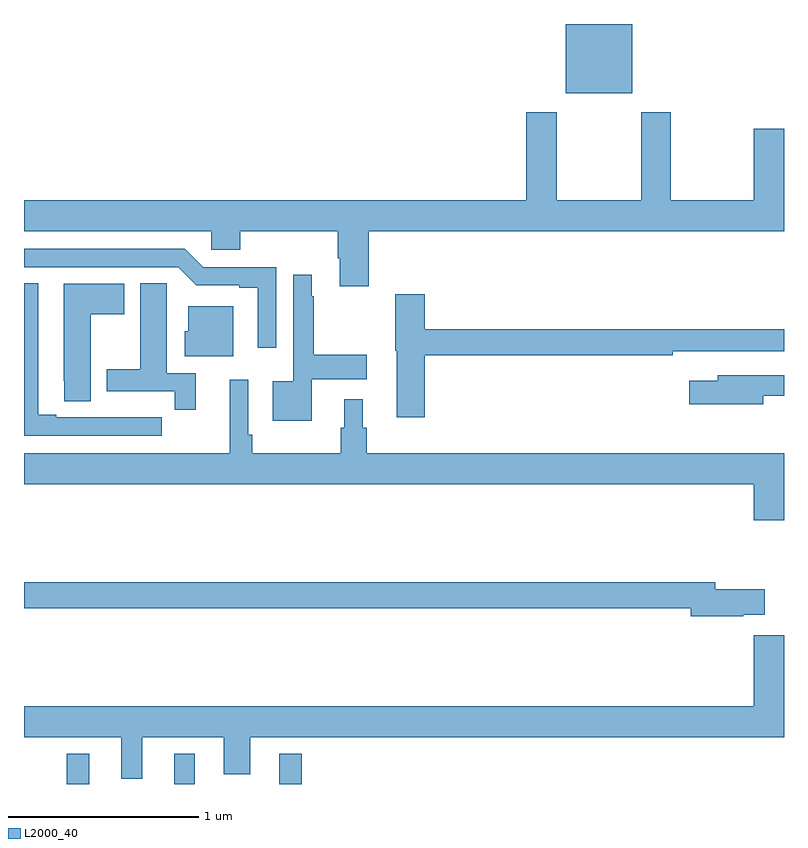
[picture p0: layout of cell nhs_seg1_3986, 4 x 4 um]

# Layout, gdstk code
import gdstk
lib = gdstk.Library(unit=1e-6, precision=1e-09)
def R(c, l, rs):  # rectangles x0, y0, x1, y1
    for r in rs: c.add(gdstk.rectangle(r[:2], r[2:], *l))
def P(c, l, *ps):  # polygons
    for p in ps: c.add(gdstk.Polygon(p, *l))
L2000_40 = (2000, 40)

nhs_seg1_3986 = lib.new_cell('nhs_seg1_3986')
R(nhs_seg1_3986, L2000_40, [(329.226,506.199,329.344,506.359), (329.792,506.199,329.899,506.359), (330.344,506.199,330.461,506.359), (331.85,509.834,332.2,510.199)])
P(nhs_seg1_3986, L2000_40, [(330.815,509.108),(333,509.108),(333,509.647),(332.84,509.647),(332.84,509.272),(332.403,509.272),(332.403,509.734),(332.248,509.734),(332.248,509.272),(331.803,509.272),(331.803,509.734),(331.643,509.734),(331.643,509.272),(329,509.272),(329,509.108),(329.985,509.108),(329.985,509.01),(330.137,509.01),(330.137,509.108),(330.65,509.108),(330.65,508.966),(330.662,508.966),(330.662,508.818),(330.815,508.818)],
  [(330.327,508.92),(329.943,508.92),(329.847,509.016),(329,509.016),(329,508.92),(329.811,508.92),(329.907,508.824),(330.134,508.824),(330.134,508.812),(330.23,508.812),(330.23,508.494),(330.327,508.494)],
  [(330.514,508.328),(330.805,508.328),(330.805,508.458),(330.526,508.458),(330.526,508.766),(330.514,508.766),(330.514,508.879),(330.417,508.879),(330.417,508.318),(330.308,508.318),(330.308,508.112),(330.514,508.112)],
  [(329.725,508.128),(329.612,508.128),(329.612,508.129),(329.446,508.129),(329.446,508.128),(329.17,508.128),(329.17,508.143),(329.074,508.143),(329.074,508.835),(329,508.835),(329,508.032),(329.725,508.032)],
  [(329.903,508.362),(329.752,508.362),(329.752,508.724),(329.751,508.724),(329.751,508.835),(329.612,508.835),(329.612,508.383),(329.435,508.383),(329.435,508.266),(329.794,508.266),(329.794,508.17),(329.903,508.17)],
  [(329.35,508.672),(329.527,508.672),(329.527,508.831),(329.21,508.831),(329.21,508.321),(329.211,508.321),(329.211,508.213),(329.35,508.213)],
  [(331.109,508.456),(332.414,508.456),(332.414,508.476),(333,508.476),(333,508.592),(331.109,508.592),(331.109,508.777),(330.955,508.777),(330.955,508.479),(330.962,508.479),(330.962,508.128),(331.109,508.128)],
  [(330.1,508.714),(329.864,508.714),(329.864,508.581),(329.846,508.581),(329.846,508.451),(330.1,508.451)],
  [(332.89,508.242),(333,508.242),(333,508.35),(332.651,508.35),(332.651,508.321),(332.502,508.321),(332.502,508.199),(332.89,508.199)],
  [(333,507.94),(330.803,507.94),(330.803,508.074),(330.784,508.074),(330.784,508.225),(330.686,508.225),(330.686,508.074),(330.667,508.074),(330.667,507.94),(330.2,507.94),(330.2,508.036),(330.18,508.036),(330.18,508.327),(330.083,508.327),(330.083,507.94),(329,507.94),(329,507.776),(332.84,507.776),(332.84,507.588),(333,507.588)],
  [(332.786,507.089),(332.899,507.089),(332.899,507.224),(332.638,507.224),(332.638,507.26),(329,507.26),(329,507.124),(332.51,507.124),(332.51,507.082),(332.786,507.082)],
  [(329.623,506.444),(330.05,506.444),(330.05,506.25),(330.19,506.25),(330.19,506.444),(333,506.444),(333,506.983),(332.84,506.983),(332.84,506.608),(329,506.608),(329,506.444),(329.513,506.444),(329.513,506.226),(329.623,506.226)])

lib.write_gds('nhs_seg1_3986.gds')
